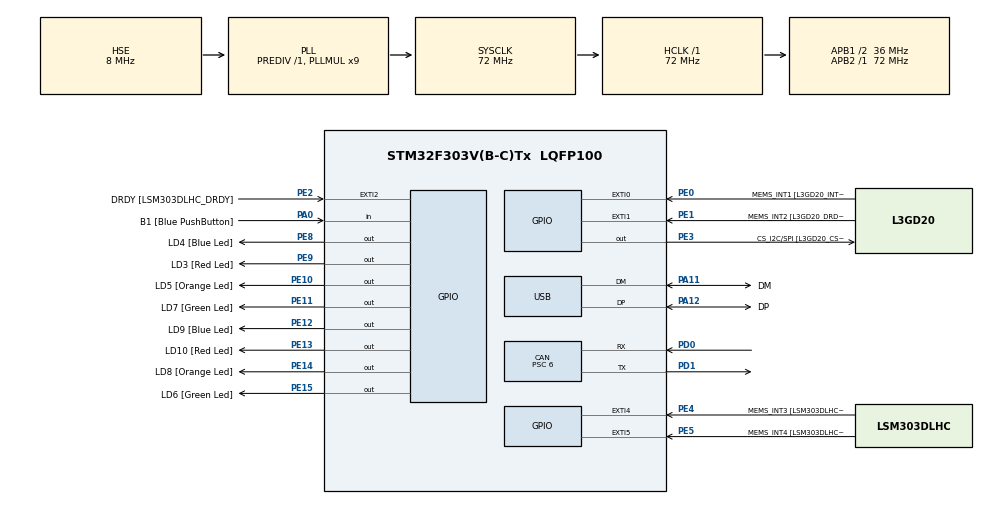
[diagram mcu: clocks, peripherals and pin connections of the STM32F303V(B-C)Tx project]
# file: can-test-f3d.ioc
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CAN.BS1=CAN_BS1_6TQ
CAN.BS2=CAN_BS2_5TQ
CAN.CalculateTimeBit=2000
CAN.CalculateTimeQuantum=166.66666666666669
CAN.Mode=CAN_MODE_LOOPBACK
CAN.Prescaler=6
Mcu.Family=STM32F3
Mcu.Name=STM32F303V(B-C)Tx
Mcu.Package=LQFP100
NVIC.PriorityGroup=NVIC_PRIORITYGROUP_0
NVIC.TIM3_IRQn=true\:0\:0\:false\:false\:true
NVIC.USB_LP_CAN_RX0_IRQn=true\:0\:0\:false\:false\:true
NVIC.USB_LP_IRQn=true\:0\:0\:false\:false\:true
PA0.GPIO_Label=B1 [Blue PushButton]
PA0.GPIO_Mode=GPIO_MODE_INPUT
PA0.GPIO_PuPd=GPIO_NOPULL
PA0.Signal=GPIO_Input
PA11.GPIO_Label=DM
PA11.Mode=Device
PA11.Signal=USB_DM
PA12.GPIO_Label=DP
PA12.Mode=Device
PA12.Signal=USB_DP
PA13.GPIO_Label=SWDIO
PA13.Signal=SYS_JTMS-SWDIO
PA14.GPIO_Label=SWCLK
PA14.Signal=SYS_JTCK-SWCLK
PA5.GPIO_Label=SPI1_SCK [L3GD20_SCL/SPC]
PA5.GPIO_Mode=GPIO_MODE_AF_PP
PA5.GPIO_PuPd=GPIO_NOPULL
PA5.GPIO_Speed=GPIO_SPEED_FREQ_LOW
PA5.Signal=SPI1_SCK
PA6.GPIO_Label=SPI1_MISO [L3GD20_SA0/SDO]
PA6.GPIO_Mode=GPIO_MODE_AF_PP
PA6.GPIO_PuPd=GPIO_NOPULL
PA6.GPIO_Speed=GPIO_SPEED_FREQ_LOW
PA6.Signal=SPI1_MISO
PA7.GPIO_Label=SPI1_MISO [L3GD20_SDA/SDI/SDO]
PA7.GPIO_Mode=GPIO_MODE_AF_PP
PA7.GPIO_PuPd=GPIO_NOPULL
PA7.GPIO_Speed=GPIO_SPEED_FREQ_LOW
PA7.Signal=SPI1_MOSI
PB3.GPIO_Label=SWO
PB3.Signal=SYS_JTDO-TRACESWO
PB6.GPIO_FM6=__NULL
PB6.GPIO_Label=I2C1_SCL [LSM303DLHC_SCL]
PB6.GPIO_Mode=GPIO_MODE_AF_OD
PB6.GPIO_PuPd=GPIO_NOPULL
PB6.GPIO_Speed=GPIO_SPEED_FREQ_LOW
PB6.Signal=I2C1_SCL
PB7.GPIO_FM7=__NULL
PB7.GPIO_Label=I2C1_SDA [LSM303DLHC_SDA]
PB7.GPIO_Mode=GPIO_MODE_AF_OD
PB7.GPIO_PuPd=GPIO_NOPULL
PB7.GPIO_Speed=GPIO_SPEED_FREQ_LOW
PB7.Signal=I2C1_SDA
PC14-OSC32_IN.GPIO_Label=OSC32_IN
PC14-OSC32_IN.Mode=LSE-External-Oscillator
PC14-OSC32_IN.Signal=RCC_OSC32_IN
PC15-OSC32_OUT.GPIO_Label=OSC32_OUT
PC15-OSC32_OUT.Mode=LSE-External-Oscillator
PC15-OSC32_OUT.Signal=RCC_OSC32_OUT
PD0.Mode=Master
PD0.Signal=CAN_RX
PD1.Mode=Master
PD1.Signal=CAN_TX
PE0.GPIO_Label=MEMS_INT1 [L3GD20_INT1]
PE0.GPIO_ModeDefaultEXTI=GPIO_MODE_EVT_RISING
PE0.GPIO_PuPd=GPIO_NOPULL
PE0.Signal=GPXTI0
PE1.GPIO_Label=MEMS_INT2 [L3GD20_DRDY/INT2]
PE1.GPIO_ModeDefaultEXTI=GPIO_MODE_EVT_RISING
PE1.GPIO_PuPd=GPIO_NOPULL
PE1.Signal=GPXTI1
PE10.GPIO_Label=LD5 [Orange Led]
PE10.GPIO_ModeDefaultOutputPP=GPIO_MODE_OUTPUT_PP
PE10.GPIO_PuPd=GPIO_NOPULL
PE10.GPIO_Speed=GPIO_SPEED_FREQ_LOW
PE10.Signal=GPIO_Output
PE11.GPIO_Label=LD7 [Green Led]
PE11.GPIO_ModeDefaultOutputPP=GPIO_MODE_OUTPUT_PP
PE11.GPIO_PuPd=GPIO_NOPULL
PE11.GPIO_Speed=GPIO_SPEED_FREQ_LOW
PE11.Signal=GPIO_Output
PE12.GPIO_Label=LD9 [Blue Led]
PE12.GPIO_ModeDefaultOutputPP=GPIO_MODE_OUTPUT_PP
PE12.GPIO_PuPd=GPIO_NOPULL
PE12.GPIO_Speed=GPIO_SPEED_FREQ_LOW
PE12.Signal=GPIO_Output
PE13.GPIO_Label=LD10 [Red Led]
PE13.GPIO_ModeDefaultOutputPP=GPIO_MODE_OUTPUT_PP
PE13.GPIO_PuPd=GPIO_NOPULL
PE13.GPIO_Speed=GPIO_SPEED_FREQ_LOW
PE13.Signal=GPIO_Output
PE14.GPIO_Label=LD8 [Orange Led]
PE14.GPIO_ModeDefaultOutputPP=GPIO_MODE_OUTPUT_PP
PE14.GPIO_PuPd=GPIO_NOPULL
PE14.GPIO_Speed=GPIO_SPEED_FREQ_LOW
PE14.Signal=GPIO_Output
PE15.GPIO_Label=LD6 [Green Led]
PE15.GPIO_ModeDefaultOutputPP=GPIO_MODE_OUTPUT_PP
PE15.GPIO_PuPd=GPIO_NOPULL
PE15.GPIO_Speed=GPIO_SPEED_FREQ_LOW
PE15.Signal=GPIO_Output
PE2.GPIO_Label=DRDY [LSM303DLHC_DRDY]
PE2.GPIO_ModeDefaultEXTI=GPIO_MODE_EVT_RISING
PE2.GPIO_PuPd=GPIO_NOPULL
PE2.Signal=GPXTI2
PE3.GPIO_Label=CS_I2C/SPI [L3GD20_CS_I2C/SPI]
PE3.GPIO_ModeDefaultOutputPP=GPIO_MODE_OUTPUT_PP
PE3.GPIO_PuPd=GPIO_NOPULL
PE3.GPIO_Speed=GPIO_SPEED_FREQ_LOW
PE3.Signal=GPIO_Output
PE4.GPIO_Label=MEMS_INT3 [LSM303DLHC_INT1]
PE4.GPIO_ModeDefaultEXTI=GPIO_MODE_EVT_RISING
PE4.GPIO_PuPd=GPIO_NOPULL
PE4.Signal=GPXTI4
PE5.GPIO_Label=MEMS_INT4 [LSM303DLHC_INT2]
PE5.GPIO_ModeDefaultEXTI=GPIO_MODE_EVT_RISING
PE5.GPIO_PuPd=GPIO_NOPULL
PE5.Signal=GPXTI5
PE8.GPIO_Label=LD4 [Blue Led]
PE8.GPIO_ModeDefaultOutputPP=GPIO_MODE_OUTPUT_PP
PE8.GPIO_PuPd=GPIO_NOPULL
PE8.GPIO_Speed=GPIO_SPEED_FREQ_LOW
PE8.Signal=GPIO_Output
PE9.GPIO_Label=LD3 [Red Led]
PE9.GPIO_ModeDefaultOutputPP=GPIO_MODE_OUTPUT_PP
PE9.GPIO_PuPd=GPIO_NOPULL
PE9.GPIO_Speed=GPIO_SPEED_FREQ_LOW
PE9.Signal=GPIO_Output
PF0-OSC_IN.GPIO_Label=OSC_IN
PF0-OSC_IN.Mode=HSE-External-Oscillator
PF0-OSC_IN.Signal=RCC_OSC_IN
PF1-OSC_OUT.GPIO_Label=OSC_OUT
PF1-OSC_OUT.Mode=HSE-External-Oscillator
PF1-OSC_OUT.Signal=RCC_OSC_OUT
ProjectManager.HeapSize=0x200
ProjectManager.StackSize=0x400
ProjectManager.TargetToolchain=SW4STM32
RCC.ADC12PRES=RCC_ADC12PLLCLK_DIV1
RCC.ADC1Enable=false
RCC.ADC2Enable=false
RCC.ADC34PRES=RCC_ADC34PLLCLK_DIV1
RCC.ADC3Enable=false
RCC.ADC4Enable=false
RCC.AHBCLKDivider=RCC_SYSCLK_DIV1
RCC.AHBFreq_Value=72000000
RCC.APB1CLKDivider=RCC_HCLK_DIV2
RCC.APB1Freq_Value=36000000
RCC.APB1TimFreq_Value=72000000
RCC.APB2CLKDivider=RCC_HCLK_DIV1
RCC.APB2Freq_Value=72000000
RCC.APB2TimFreq_Value=72000000
RCC.ClockTypeHCLK=RCC_CLOCKTYPE_HCLK
RCC.ClockTypePCLK1=RCC_CLOCKTYPE_PCLK1
RCC.ClockTypePCLK2=RCC_CLOCKTYPE_PCLK2
RCC.CortexFreq_Value=72000000
RCC.Cortex_Div=SYSTICK_CLKSOURCE_HCLK
RCC.EnableHSE=true
RCC.EnableHSERTCDevisor=false
RCC.EnableHSIRTCDevisor=false
RCC.EnableLSE=true
RCC.EnableLSERTC=false
RCC.EnableMCOMultDivisor=false
RCC.FLITFCLKFEnable=false
RCC.FLatency=FLASH_LATENCY_2
RCC.HCLKFreq_Value=72000000
RCC.HRTIMEnable=false
RCC.HSEState=RCC_HSE_ON
RCC.HSE_VALUE=8000000
RCC.HSIState=RCC_HSI_ON
RCC.HSI_VALUE=8000000
RCC.I2C1Enable=false
RCC.I2C2Enable=false
RCC.I2C3Enable=false
RCC.I2SEnable=false
RCC.IWDGEnable=false
RCC.LSEState=RCC_LSE_ON
RCC.LSIState=RCC_LSI_OFF
RCC.MCOEnable=false
RCC.OscillatorTypeHSE=RCC_OSCILLATORTYPE_HSE
RCC.OscillatorTypeHSI=RCC_OSCILLATORTYPE_HSI
RCC.PLLMUL=RCC_PLL_MUL9
RCC.PLLSource=RCC_PLLSOURCE_HSE
RCC.PLLSourceVirtual=RCC_PLLSOURCE_HSE
RCC.PLLState=RCC_PLL_ON
RCC.PREFETCH_ENABLE=1
RCC.PRESCALERUSB=RCC_USBCLKSOURCE_PLL_DIV1_5
RCC.RCC_PLLsource_Clock_Source_FROM_HSE=RCC_HSE_PREDIV_DIV1
RCC.RTCEnable=false
RCC.SYSCLKFreq_VALUE=72000000
RCC.SYSCLKSource=RCC_SYSCLKSOURCE_PLLCLK
RCC.SYSCLKSourceVirtual=RCC_SYSCLKSOURCE_PLLCLK
RCC.Tim15Enable=false
RCC.Tim16Enable=false
RCC.Tim17Enable=false
RCC.Tim1Enable=false
RCC.Tim8Enable=false
RCC.UART4Enable=false
RCC.UART5Enable=false
RCC.USART1Enable=false
RCC.USART2Enable=false
RCC.USART3Enable=false
RCC.USBEnable=true
RCC.USBFreq_Value=48000000
TIM3.Period=1023
TIM3.Prescaler=31999
USB_DEVICE.CLASS_NAME_FS=CDC
USB_DEVICE.USBD_HandleTypeDef_FS=hUsbDevice_USB_FS
USB_DEVICE.VirtualMode=Cdc
USB_DEVICE.VirtualModeFS=Cdc_FS
VP_TIM3_VS_ClockSourceINT.Mode=Internal
VP_USB_DEVICE_VS_USB_DEVICE_CDC_FS.Mode=CDC_FS
board=STM32F3DISCOVERY

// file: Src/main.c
/**
  ******************************************************************************
  * File Name          : main.c
  * Description        : Main program body
  ******************************************************************************
  *
  * Copyright (c) 2017 STMicroelectronics International N.V.
  * All rights reserved.
  *
  * Redistribution and use in source and binary forms, with or without
  * modification, are permitted, provided that the following conditions are met:
  *
  * 1. Redistribution of source code must retain the above copyright notice,
  *    this list of conditions and the following disclaimer.
  * 2. Redistributions in binary form must reproduce the above copyright notice,
  *    this list of conditions and the following disclaimer in the documentation
  *    and/or other materials provided with the distribution.
  * 3. Neither the name of STMicroelectronics nor the names of other
  *    contributors to this software may be used to endorse or promote products
  *    derived from this software without specific written permission.
  * 4. This software, including modifications and/or derivative works of this
  *    software, must execute solely and exclusively on microcontroller or
  *    microprocessor devices manufactured by or for STMicroelectronics.
  * 5. Redistribution and use of this software other than as permitted under
  *    this license is void and will automatically terminate your rights under
  *    this license.
  *
  * THIS SOFTWARE IS PROVIDED BY STMICROELECTRONICS AND CONTRIBUTORS "AS IS"
  * AND ANY EXPRESS, IMPLIED OR STATUTORY WARRANTIES, INCLUDING, BUT NOT
  * LIMITED TO, THE IMPLIED WARRANTIES OF MERCHANTABILITY, FITNESS FOR A
  * PARTICULAR PURPOSE AND NON-INFRINGEMENT OF THIRD PARTY INTELLECTUAL PROPERTY
  * RIGHTS ARE DISCLAIMED TO THE FULLEST EXTENT PERMITTED BY LAW. IN NO EVENT
  * SHALL STMICROELECTRONICS OR CONTRIBUTORS BE LIABLE FOR ANY DIRECT, INDIRECT,
  * INCIDENTAL, SPECIAL, EXEMPLARY, OR CONSEQUENTIAL DAMAGES (INCLUDING, BUT NOT
  * LIMITED TO, PROCUREMENT OF SUBSTITUTE GOODS OR SERVICES; LOSS OF USE, DATA,
  * OR PROFITS; OR BUSINESS INTERRUPTION) HOWEVER CAUSED AND ON ANY THEORY OF
  * LIABILITY, WHETHER IN CONTRACT, STRICT LIABILITY, OR TORT (INCLUDING
  * NEGLIGENCE OR OTHERWISE) ARISING IN ANY WAY OUT OF THE USE OF THIS SOFTWARE,
  * EVEN IF ADVISED OF THE POSSIBILITY OF SUCH DAMAGE.
  *
  ******************************************************************************
  */
#include <Inc/usbd_cdc_if.h>
#include <stm32f3xx_hal_can.h>
#include "main.h"
#include "stm32f3xx_hal.h"
#include "usb_device.h"

CAN_HandleTypeDef hcan;

TIM_HandleTypeDef htim3;

/* USER CODE BEGIN PV */
/* Private variables ---------------------------------------------------------*/
static CanTxMsgTypeDef can1TxMessage;
static CanRxMsgTypeDef can1RxMessage;
/* USER CODE END PV */

void SystemClock_Config(void);

void Error_Handler(void);

static void MX_GPIO_Init(void);

static void MX_CAN_Init(void);

static void MX_TIM3_Init(void);

/* USER CODE BEGIN PFP */
/* Private function prototypes -----------------------------------------------*/
void sendCan();

extern uint8_t CDC_periodic_callback(void);

extern uint8_t CDC_add_buf_to_transmit(uint8_t *Buf, uint16_t Len);

uint8_t interface_state = 0;
/* USER CODE END PFP */

/* USER CODE BEGIN 0 */

uint8_t halfbyte_to_hexascii(uint8_t _halfbyte) {
    _halfbyte &= 0x0F;
    if (_halfbyte >= 10) return ('A' + _halfbyte - 10);
    else return ('0' + _halfbyte);
}

uint8_t hexascii_to_halfbyte(uint8_t _ascii) {
    if ((_ascii >= '0') && (_ascii <= '9')) return (_ascii - '0');
    if ((_ascii >= 'a') && (_ascii <= 'f')) return (_ascii - 'a');
    if ((_ascii >= 'A') && (_ascii <= 'F')) return (_ascii - 'A');
    return (0xFF);
}

void HAL_CAN_RxCpltCallback(CAN_HandleTypeDef *CanHandle) {
    uint32_t num_bytes;
    uint8_t buf[200];
    static uint32_t time;

    num_bytes = 0;
    buf[num_bytes++] = 't';
    buf[num_bytes++] = halfbyte_to_hexascii((CanHandle->pRxMsg->StdId) >> 8);
    buf[num_bytes++] = halfbyte_to_hexascii((CanHandle->pRxMsg->StdId) >> 4);
    buf[num_bytes++] = halfbyte_to_hexascii((CanHandle->pRxMsg->StdId));
    buf[num_bytes++] = halfbyte_to_hexascii((CanHandle->pRxMsg->DLC));
    buf[num_bytes++] = halfbyte_to_hexascii((CanHandle->pRxMsg->Data[0]) >> 4);
    buf[num_bytes++] = halfbyte_to_hexascii((CanHandle->pRxMsg->Data[0]));
    buf[num_bytes++] = halfbyte_to_hexascii((CanHandle->pRxMsg->Data[1]) >> 4);
    buf[num_bytes++] = halfbyte_to_hexascii((CanHandle->pRxMsg->Data[1]));
    buf[num_bytes++] = halfbyte_to_hexascii((CanHandle->pRxMsg->Data[2]) >> 4);
    buf[num_bytes++] = halfbyte_to_hexascii((CanHandle->pRxMsg->Data[2]));
    buf[num_bytes++] = halfbyte_to_hexascii((CanHandle->pRxMsg->Data[3]) >> 4);
    buf[num_bytes++] = halfbyte_to_hexascii((CanHandle->pRxMsg->Data[3]));
    buf[num_bytes++] = halfbyte_to_hexascii((CanHandle->pRxMsg->Data[4]) >> 4);
    buf[num_bytes++] = halfbyte_to_hexascii((CanHandle->pRxMsg->Data[4]));
    buf[num_bytes++] = halfbyte_to_hexascii((CanHandle->pRxMsg->Data[5]) >> 4);
    buf[num_bytes++] = halfbyte_to_hexascii((CanHandle->pRxMsg->Data[5]));
    buf[num_bytes++] = halfbyte_to_hexascii((CanHandle->pRxMsg->Data[6]) >> 4);
    buf[num_bytes++] = halfbyte_to_hexascii((CanHandle->pRxMsg->Data[6]));
    buf[num_bytes++] = halfbyte_to_hexascii((CanHandle->pRxMsg->Data[7]) >> 4);
    buf[num_bytes++] = halfbyte_to_hexascii((CanHandle->pRxMsg->Data[7]));
    buf[num_bytes++] = halfbyte_to_hexascii((time) >> 12);
    buf[num_bytes++] = halfbyte_to_hexascii((time) >> 8);
    buf[num_bytes++] = halfbyte_to_hexascii((time) >> 4);
    buf[num_bytes++] = halfbyte_to_hexascii((time) >> 0);
    buf[num_bytes++] = '\r';
    if (interface_state == 1) CDC_add_buf_to_transmit(buf, num_bytes);

    HAL_CAN_Receive_IT(&hcan, CAN_FIFO0);

}

void HAL_TIM_PeriodElapsedCallback(TIM_HandleTypeDef *htim) {
    sendCan();
    HAL_GPIO_TogglePin(GPIOE, LD3_Pin);
}

/* USER CODE END 0 */

int main(void) {

    /* MCU Configuration----------------------------------------------------------*/

    /* Reset of all peripherals, Initializes the Flash interface and the Systick. */
    HAL_Init();

    /* Configure the system clock */
    SystemClock_Config();

    /* Initialize all configured peripherals */
    MX_GPIO_Init();
    MX_CAN_Init();
    MX_TIM3_Init();
    MX_USB_DEVICE_Init();

    /* USER CODE BEGIN 2 */

    hcan.pTxMsg = &can1TxMessage;
    hcan.pRxMsg = &can1RxMessage;

    CAN_FilterConfTypeDef canFilterConfig;
    canFilterConfig.FilterNumber = 0;
    canFilterConfig.FilterMode = CAN_FILTERMODE_IDMASK;
    canFilterConfig.FilterScale = CAN_FILTERSCALE_32BIT;
    canFilterConfig.FilterIdHigh = 0x0000;
    canFilterConfig.FilterIdLow = 0x0000;
    canFilterConfig.FilterMaskIdHigh = 0x0000 << 5;
    canFilterConfig.FilterMaskIdLow = 0x0000;
    canFilterConfig.FilterFIFOAssignment = 0;
    canFilterConfig.FilterActivation = ENABLE;
    canFilterConfig.BankNumber = 1;
    if (HAL_CAN_ConfigFilter(&hcan, &canFilterConfig) != HAL_OK || HAL_CAN_Receive_IT(&hcan, CAN_FIFO0) != HAL_OK) {
        /* Filter configuration Error */
        Error_Handler();
    }

    HAL_TIM_Base_Start_IT(&htim3);
    /* USER CODE END 2 */

    /* Infinite loop */
    /* USER CODE BEGIN WHILE */
    while (1) {
        CDC_periodic_callback();
        /* USER CODE END WHILE */
    }

}

/** System Clock Configuration
*/
void SystemClock_Config(void) {

    RCC_OscInitTypeDef RCC_OscInitStruct;
    RCC_ClkInitTypeDef RCC_ClkInitStruct;
    RCC_PeriphCLKInitTypeDef PeriphClkInit;

    /**Initializes the CPU, AHB and APB busses clocks
    */
    RCC_OscInitStruct.OscillatorType = RCC_OSCILLATORTYPE_HSE;
    RCC_OscInitStruct.HSEState = RCC_HSE_ON;
    RCC_OscInitStruct.HSEPredivValue = RCC_HSE_PREDIV_DIV1;
    RCC_OscInitStruct.PLL.PLLState = RCC_PLL_ON;
    RCC_OscInitStruct.PLL.PLLSource = RCC_PLLSOURCE_HSE;
    RCC_OscInitStruct.PLL.PLLMUL = RCC_PLL_MUL9;
    if (HAL_RCC_OscConfig(&RCC_OscInitStruct) != HAL_OK) {
        Error_Handler();
    }

    /**Initializes the CPU, AHB and APB busses clocks
    */
    RCC_ClkInitStruct.ClockType = RCC_CLOCKTYPE_HCLK | RCC_CLOCKTYPE_SYSCLK
                                  | RCC_CLOCKTYPE_PCLK1 | RCC_CLOCKTYPE_PCLK2;
    RCC_ClkInitStruct.SYSCLKSource = RCC_SYSCLKSOURCE_PLLCLK;
    RCC_ClkInitStruct.AHBCLKDivider = RCC_SYSCLK_DIV1;
    RCC_ClkInitStruct.APB1CLKDivider = RCC_HCLK_DIV2;
    RCC_ClkInitStruct.APB2CLKDivider = RCC_HCLK_DIV1;

    if (HAL_RCC_ClockConfig(&RCC_ClkInitStruct, FLASH_LATENCY_2) != HAL_OK) {
        Error_Handler();
    }

    PeriphClkInit.PeriphClockSelection = RCC_PERIPHCLK_USB;
    PeriphClkInit.USBClockSelection = RCC_USBCLKSOURCE_PLL_DIV1_5;
    if (HAL_RCCEx_PeriphCLKConfig(&PeriphClkInit) != HAL_OK) {
        Error_Handler();
    }

    /**Configure the Systick interrupt time
    */
    HAL_SYSTICK_Config(HAL_RCC_GetHCLKFreq() / 1000);

    /**Configure the Systick
    */
    HAL_SYSTICK_CLKSourceConfig(SYSTICK_CLKSOURCE_HCLK);

    /* SysTick_IRQn interrupt configuration */
    HAL_NVIC_SetPriority(SysTick_IRQn, 0, 0);
}

/* CAN init function */
static void MX_CAN_Init(void) {

    hcan.Instance = CAN;
    hcan.Init.Prescaler = 6;
    hcan.Init.Mode = CAN_MODE_LOOPBACK;
    hcan.Init.SJW = CAN_SJW_1TQ;
    hcan.Init.BS1 = CAN_BS1_6TQ;
    hcan.Init.BS2 = CAN_BS2_5TQ;
    hcan.Init.TTCM = DISABLE;
    hcan.Init.ABOM = DISABLE;
    hcan.Init.AWUM = DISABLE;
    hcan.Init.NART = DISABLE;
    hcan.Init.RFLM = DISABLE;
    hcan.Init.TXFP = DISABLE;
    if (HAL_CAN_Init(&hcan) != HAL_OK) {
        Error_Handler();
    }

}

/* TIM3 init function */
static void MX_TIM3_Init(void) {

    TIM_ClockConfigTypeDef sClockSourceConfig;
    TIM_MasterConfigTypeDef sMasterConfig;

    htim3.Instance = TIM3;
    htim3.Init.Prescaler = 31999;
    htim3.Init.CounterMode = TIM_COUNTERMODE_UP;
    htim3.Init.Period = 1023;
    htim3.Init.ClockDivision = TIM_CLOCKDIVISION_DIV1;
    htim3.Init.AutoReloadPreload = TIM_AUTORELOAD_PRELOAD_DISABLE;
    if (HAL_TIM_Base_Init(&htim3) != HAL_OK) {
        Error_Handler();
    }

    sClockSourceConfig.ClockSource = TIM_CLOCKSOURCE_INTERNAL;
    if (HAL_TIM_ConfigClockSource(&htim3, &sClockSourceConfig) != HAL_OK) {
        Error_Handler();
    }

    sMasterConfig.MasterOutputTrigger = TIM_TRGO_RESET;
    sMasterConfig.MasterSlaveMode = TIM_MASTERSLAVEMODE_DISABLE;
    if (HAL_TIMEx_MasterConfigSynchronization(&htim3, &sMasterConfig) != HAL_OK) {
        Error_Handler();
    }

}

/** Configure pins as
        * Analog
        * Input
        * Output
        * EVENT_OUT
        * EXTI
     PA5   ------> SPI1_SCK
     PA6   ------> SPI1_MISO
     PA7   ------> SPI1_MOSI
     PB6   ------> I2C1_SCL
     PB7   ------> I2C1_SDA
*/
static void MX_GPIO_Init(void) {

    GPIO_InitTypeDef GPIO_InitStruct;

    /* GPIO Ports Clock Enable */
    __HAL_RCC_GPIOE_CLK_ENABLE();
    __HAL_RCC_GPIOC_CLK_ENABLE();
    __HAL_RCC_GPIOF_CLK_ENABLE();
    __HAL_RCC_GPIOA_CLK_ENABLE();
    __HAL_RCC_GPIOD_CLK_ENABLE();
    __HAL_RCC_GPIOB_CLK_ENABLE();

    /*Configure GPIO pin Output Level */
    HAL_GPIO_WritePin(GPIOE, CS_I2C_SPI_Pin | LD4_Pin | LD3_Pin | LD5_Pin
                             | LD7_Pin | LD9_Pin | LD10_Pin | LD8_Pin
                             | LD6_Pin, GPIO_PIN_RESET);

    /*Configure GPIO pins : DRDY_Pin MEMS_INT3_Pin MEMS_INT4_Pin MEMS_INT1_Pin
                             MEMS_INT2_Pin */
    GPIO_InitStruct.Pin = DRDY_Pin | MEMS_INT3_Pin | MEMS_INT4_Pin | MEMS_INT1_Pin
                          | MEMS_INT2_Pin;
    GPIO_InitStruct.Mode = GPIO_MODE_EVT_RISING;
    GPIO_InitStruct.Pull = GPIO_NOPULL;
    HAL_GPIO_Init(GPIOE, &GPIO_InitStruct);

    /*Configure GPIO pins : CS_I2C_SPI_Pin LD4_Pin LD3_Pin LD5_Pin
                             LD7_Pin LD9_Pin LD10_Pin LD8_Pin
                             LD6_Pin */
    GPIO_InitStruct.Pin = CS_I2C_SPI_Pin | LD4_Pin | LD3_Pin | LD5_Pin
                          | LD7_Pin | LD9_Pin | LD10_Pin | LD8_Pin
                          | LD6_Pin;
    GPIO_InitStruct.Mode = GPIO_MODE_OUTPUT_PP;
    GPIO_InitStruct.Pull = GPIO_NOPULL;
    GPIO_InitStruct.Speed = GPIO_SPEED_FREQ_LOW;
    HAL_GPIO_Init(GPIOE, &GPIO_InitStruct);

    /*Configure GPIO pin : B1_Pin */
    GPIO_InitStruct.Pin = B1_Pin;
    GPIO_InitStruct.Mode = GPIO_MODE_INPUT;
    GPIO_InitStruct.Pull = GPIO_NOPULL;
    HAL_GPIO_Init(B1_GPIO_Port, &GPIO_InitStruct);

    /*Configure GPIO pins : SPI1_SCK_Pin SPI1_MISO_Pin SPI1_MISOA7_Pin */
    GPIO_InitStruct.Pin = SPI1_SCK_Pin | SPI1_MISO_Pin | SPI1_MISOA7_Pin;
    GPIO_InitStruct.Mode = GPIO_MODE_AF_PP;
    GPIO_InitStruct.Pull = GPIO_NOPULL;
    GPIO_InitStruct.Speed = GPIO_SPEED_FREQ_LOW;
    GPIO_InitStruct.Alternate = GPIO_AF5_SPI1;
    HAL_GPIO_Init(GPIOA, &GPIO_InitStruct);

    /*Configure GPIO pins : I2C1_SCL_Pin I2C1_SDA_Pin */
    GPIO_InitStruct.Pin = I2C1_SCL_Pin | I2C1_SDA_Pin;
    GPIO_InitStruct.Mode = GPIO_MODE_AF_OD;
    GPIO_InitStruct.Pull = GPIO_PULLUP;
    GPIO_InitStruct.Speed = GPIO_SPEED_FREQ_LOW;
    GPIO_InitStruct.Alternate = GPIO_AF4_I2C1;
    HAL_GPIO_Init(GPIOB, &GPIO_InitStruct);

}

/* USER CODE BEGIN 4 */
uint32_t iPar = 0;

void sendCan() {

    hcan.pTxMsg->StdId = iPar++;
    hcan.pTxMsg->ExtId = 0x1;
    hcan.pTxMsg->RTR = CAN_RTR_DATA;
    hcan.pTxMsg->IDE = CAN_ID_STD;
    hcan.pTxMsg->DLC = 8;
    hcan.pTxMsg->Data[0] = 'C';
    hcan.pTxMsg->Data[1] = 'A';
    hcan.pTxMsg->Data[2] = 'N';
    hcan.pTxMsg->Data[3] = (uint8_t) iPar;
    hcan.pTxMsg->Data[4] = ' ';
    hcan.pTxMsg->Data[5] = 'O';
    hcan.pTxMsg->Data[6] = 'K';
    hcan.pTxMsg->Data[7] = '\n';
    HAL_StatusTypeDef sendResult = HAL_CAN_Transmit(&hcan, 10);
    if (HAL_OK == sendResult) {
        HAL_GPIO_TogglePin(GPIOE, LD6_Pin);
    } else {
        HAL_GPIO_TogglePin(GPIOE, LD3_Pin);
        HAL_GPIO_TogglePin(GPIOE, LD3_Pin);
    }

}
/* USER CODE END 4 */

void Error_Handler(void) {
    while (1) {
    }
}

/************************ (C) COPYRIGHT STMicroelectronics *****END OF FILE****/
